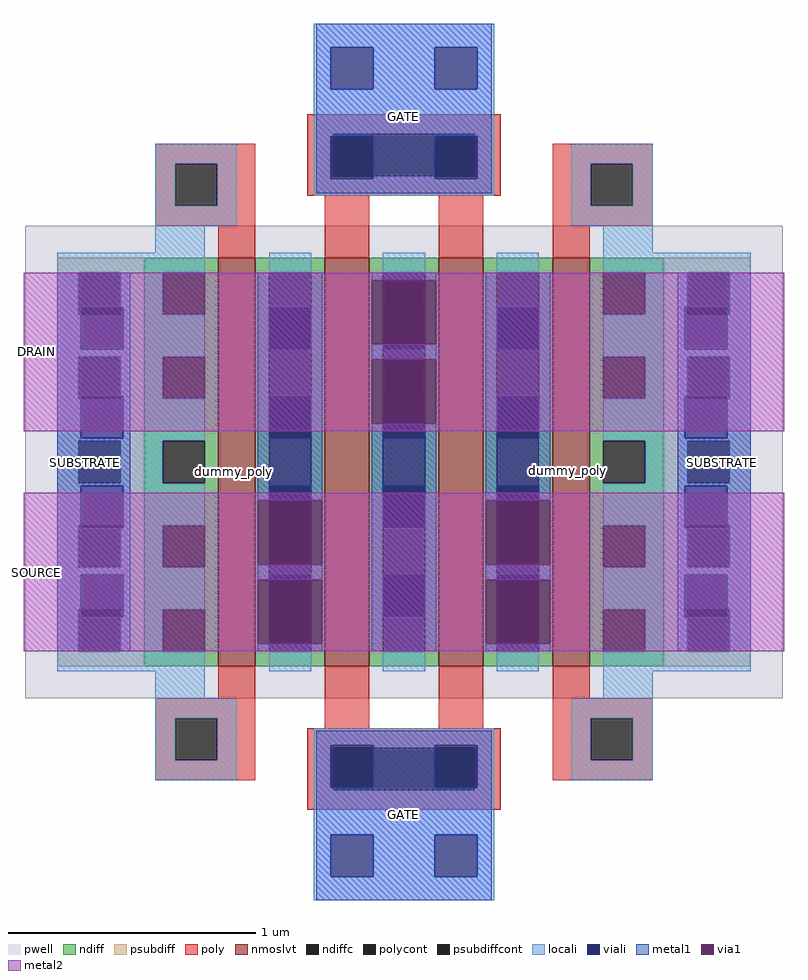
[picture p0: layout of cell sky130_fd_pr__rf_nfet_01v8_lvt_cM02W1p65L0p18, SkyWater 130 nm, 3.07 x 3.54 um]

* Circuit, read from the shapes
.subckt sky130_fd_pr__rf_nfet_01v8_lvt_cM02W1p65L0p18 GATE SUBSTRATE SOURCE DRAIN
XM1 SOURCE SUBSTRATE SUBSTRATE SUBSTRATE sky130_fd_pr__nfet_01v8_lvt w=1.65 l=0.15 m=2
XM2 DRAIN GATE SOURCE SUBSTRATE sky130_fd_pr__nfet_01v8_lvt w=1.65 l=0.18 m=2
.ends

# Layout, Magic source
magic
tech sky130A
magscale 1 2
<< pwell >>
rect 15 163 627 545
<< nmoslvt >>
rect 171 189 201 519
rect 257 189 293 519
rect 349 189 385 519
rect 441 189 471 519
<< ndiff >>
rect 111 507 171 519
rect 111 473 126 507
rect 160 473 171 507
rect 111 439 171 473
rect 111 405 126 439
rect 160 405 171 439
rect 111 371 171 405
rect 111 337 126 371
rect 160 337 171 371
rect 111 303 171 337
rect 111 269 126 303
rect 160 269 171 303
rect 111 235 171 269
rect 111 201 126 235
rect 160 201 171 235
rect 111 189 171 201
rect 201 507 257 519
rect 201 201 212 507
rect 246 201 257 507
rect 201 189 257 201
rect 293 507 349 519
rect 293 201 304 507
rect 338 201 349 507
rect 293 189 349 201
rect 385 507 441 519
rect 385 201 396 507
rect 430 201 441 507
rect 385 189 441 201
rect 471 507 531 519
rect 471 473 482 507
rect 516 473 531 507
rect 471 439 531 473
rect 471 405 482 439
rect 516 405 531 439
rect 471 371 531 405
rect 471 337 482 371
rect 516 337 531 371
rect 471 303 531 337
rect 471 269 482 303
rect 516 269 531 303
rect 471 235 531 269
rect 471 201 482 235
rect 516 201 531 235
rect 471 189 531 201
<< ndiffc >>
rect 126 473 160 507
rect 126 405 160 439
rect 126 337 160 371
rect 126 269 160 303
rect 126 201 160 235
rect 212 201 246 507
rect 304 201 338 507
rect 396 201 430 507
rect 482 473 516 507
rect 482 405 516 439
rect 482 337 516 371
rect 482 269 516 303
rect 482 201 516 235
<< psubdiff >>
rect 41 507 111 519
rect 41 473 58 507
rect 92 473 111 507
rect 41 439 111 473
rect 41 405 58 439
rect 92 405 111 439
rect 41 371 111 405
rect 41 337 58 371
rect 92 337 111 371
rect 41 303 111 337
rect 41 269 58 303
rect 92 269 111 303
rect 41 235 111 269
rect 41 201 58 235
rect 92 201 111 235
rect 41 189 111 201
rect 531 507 601 519
rect 531 473 550 507
rect 584 473 601 507
rect 531 439 601 473
rect 531 405 550 439
rect 584 405 601 439
rect 531 371 601 405
rect 531 337 550 371
rect 584 337 601 371
rect 531 303 601 337
rect 531 269 550 303
rect 584 269 601 303
rect 531 235 601 269
rect 531 201 550 235
rect 584 201 601 235
rect 531 189 601 201
<< psubdiffcont >>
rect 58 473 92 507
rect 58 405 92 439
rect 58 337 92 371
rect 58 269 92 303
rect 58 201 92 235
rect 550 473 584 507
rect 550 405 584 439
rect 550 337 584 371
rect 550 269 584 303
rect 550 201 584 235
<< poly >>
rect 243 619 399 635
rect 120 595 201 611
rect 120 561 136 595
rect 170 561 201 595
rect 243 585 264 619
rect 378 585 399 619
rect 243 569 399 585
rect 441 595 522 611
rect 120 545 201 561
rect 171 519 201 545
rect 257 519 293 569
rect 349 519 385 569
rect 441 561 472 595
rect 506 561 522 595
rect 441 545 522 561
rect 441 519 471 545
rect 171 163 201 189
rect 120 147 201 163
rect 120 113 136 147
rect 170 113 201 147
rect 257 139 293 189
rect 349 139 385 189
rect 441 163 471 189
rect 441 147 522 163
rect 120 97 201 113
rect 243 123 399 139
rect 243 89 264 123
rect 378 89 399 123
rect 441 113 472 147
rect 506 113 522 147
rect 441 97 522 113
rect 243 73 399 89
<< polycont >>
rect 136 561 170 595
rect 264 585 378 619
rect 472 561 506 595
rect 136 113 170 147
rect 264 89 378 123
rect 472 113 506 147
<< locali >>
rect 248 689 394 708
rect 248 655 262 689
rect 296 655 346 689
rect 380 655 394 689
rect 248 619 394 655
rect 248 617 264 619
rect 378 617 394 619
rect 120 595 186 611
rect 120 561 136 595
rect 170 561 186 595
rect 248 583 262 617
rect 296 583 346 585
rect 380 583 394 617
rect 248 569 394 583
rect 456 595 522 611
rect 120 545 186 561
rect 456 561 472 595
rect 506 561 522 595
rect 456 545 522 561
rect 120 523 160 545
rect 482 523 522 545
rect 41 507 160 523
rect 41 473 58 507
rect 92 479 126 507
rect 94 473 126 479
rect 41 445 60 473
rect 94 445 160 473
rect 41 439 160 445
rect 41 405 58 439
rect 92 407 126 439
rect 94 405 126 407
rect 41 373 60 405
rect 94 373 160 405
rect 41 371 160 373
rect 41 337 58 371
rect 92 337 126 371
rect 41 335 160 337
rect 41 303 60 335
rect 94 303 160 335
rect 41 269 58 303
rect 94 301 126 303
rect 92 269 126 301
rect 41 263 160 269
rect 41 235 60 263
rect 94 235 160 263
rect 41 201 58 235
rect 94 229 126 235
rect 92 201 126 229
rect 41 185 160 201
rect 212 507 246 523
rect 212 185 246 201
rect 304 507 338 523
rect 304 185 338 201
rect 396 507 430 523
rect 396 185 430 201
rect 482 507 601 523
rect 516 479 550 507
rect 516 473 548 479
rect 584 473 601 507
rect 482 445 548 473
rect 582 445 601 473
rect 482 439 601 445
rect 516 407 550 439
rect 516 405 548 407
rect 584 405 601 439
rect 482 373 548 405
rect 582 373 601 405
rect 482 371 601 373
rect 516 337 550 371
rect 584 337 601 371
rect 482 335 601 337
rect 482 303 548 335
rect 582 303 601 335
rect 516 301 548 303
rect 516 269 550 301
rect 584 269 601 303
rect 482 263 601 269
rect 482 235 548 263
rect 582 235 601 263
rect 516 229 548 235
rect 516 201 550 229
rect 584 201 601 235
rect 482 185 601 201
rect 120 163 160 185
rect 482 163 522 185
rect 120 147 186 163
rect 120 113 136 147
rect 170 113 186 147
rect 456 147 522 163
rect 120 97 186 113
rect 248 125 394 139
rect 248 91 262 125
rect 296 123 346 125
rect 380 91 394 125
rect 456 113 472 147
rect 506 113 522 147
rect 456 97 522 113
rect 248 89 264 91
rect 378 89 394 91
rect 248 53 394 89
rect 248 19 262 53
rect 296 19 346 53
rect 380 19 394 53
rect 248 0 394 19
<< viali >>
rect 262 655 296 689
rect 346 655 380 689
rect 262 585 264 617
rect 264 585 296 617
rect 346 585 378 617
rect 378 585 380 617
rect 262 583 296 585
rect 346 583 380 585
rect 60 473 92 479
rect 92 473 94 479
rect 60 445 94 473
rect 60 405 92 407
rect 92 405 94 407
rect 60 373 94 405
rect 60 303 94 335
rect 60 301 92 303
rect 92 301 94 303
rect 60 235 94 263
rect 60 229 92 235
rect 92 229 94 235
rect 212 445 246 479
rect 212 373 246 407
rect 212 301 246 335
rect 212 229 246 263
rect 304 445 338 479
rect 304 373 338 407
rect 304 301 338 335
rect 304 229 338 263
rect 396 445 430 479
rect 396 373 430 407
rect 396 301 430 335
rect 396 229 430 263
rect 548 473 550 479
rect 550 473 582 479
rect 548 445 582 473
rect 548 405 550 407
rect 550 405 582 407
rect 548 373 582 405
rect 548 303 582 335
rect 548 301 550 303
rect 550 301 582 303
rect 548 235 582 263
rect 548 229 550 235
rect 550 229 582 235
rect 262 123 296 125
rect 346 123 380 125
rect 262 91 264 123
rect 264 91 296 123
rect 346 91 378 123
rect 378 91 380 123
rect 262 19 296 53
rect 346 19 380 53
<< metal1 >>
rect 250 689 392 708
rect 250 655 262 689
rect 296 655 346 689
rect 380 655 392 689
rect 250 617 392 655
rect 250 583 262 617
rect 296 583 346 617
rect 380 583 392 617
rect 250 571 392 583
rect 41 479 100 507
rect 41 445 60 479
rect 94 445 100 479
rect 41 407 100 445
rect 41 373 60 407
rect 94 373 100 407
rect 41 335 100 373
rect 41 301 60 335
rect 94 301 100 335
rect 41 263 100 301
rect 41 229 60 263
rect 94 229 100 263
rect 41 201 100 229
rect 203 479 255 507
rect 203 445 212 479
rect 246 445 255 479
rect 203 407 255 445
rect 203 373 212 407
rect 246 373 255 407
rect 203 335 255 373
rect 203 323 212 335
rect 246 323 255 335
rect 203 263 255 271
rect 203 259 212 263
rect 246 259 255 263
rect 203 201 255 207
rect 295 501 347 507
rect 295 445 304 449
rect 338 445 347 449
rect 295 437 347 445
rect 295 373 304 385
rect 338 373 347 385
rect 295 335 347 373
rect 295 301 304 335
rect 338 301 347 335
rect 295 263 347 301
rect 295 229 304 263
rect 338 229 347 263
rect 295 201 347 229
rect 387 479 439 507
rect 387 445 396 479
rect 430 445 439 479
rect 387 407 439 445
rect 387 373 396 407
rect 430 373 439 407
rect 387 335 439 373
rect 387 323 396 335
rect 430 323 439 335
rect 387 263 439 271
rect 387 259 396 263
rect 430 259 439 263
rect 387 201 439 207
rect 542 479 601 507
rect 542 445 548 479
rect 582 445 601 479
rect 542 407 601 445
rect 542 373 548 407
rect 582 373 601 407
rect 542 335 601 373
rect 542 301 548 335
rect 582 301 601 335
rect 542 263 601 301
rect 542 229 548 263
rect 582 229 601 263
rect 542 201 601 229
rect 250 125 392 137
rect 250 91 262 125
rect 296 91 346 125
rect 380 91 392 125
rect 250 53 392 91
rect 250 19 262 53
rect 296 19 346 53
rect 380 19 392 53
rect 250 0 392 19
<< via1 >>
rect 203 301 212 323
rect 212 301 246 323
rect 246 301 255 323
rect 203 271 255 301
rect 203 229 212 259
rect 212 229 246 259
rect 246 229 255 259
rect 203 207 255 229
rect 295 479 347 501
rect 295 449 304 479
rect 304 449 338 479
rect 338 449 347 479
rect 295 407 347 437
rect 295 385 304 407
rect 304 385 338 407
rect 338 385 347 407
rect 387 301 396 323
rect 396 301 430 323
rect 430 301 439 323
rect 387 271 439 301
rect 387 229 396 259
rect 396 229 430 259
rect 430 229 439 259
rect 387 207 439 229
<< metal2 >>
rect 14 501 628 507
rect 14 449 295 501
rect 347 449 628 501
rect 14 437 628 449
rect 14 385 295 437
rect 347 385 628 437
rect 14 379 628 385
rect 14 323 628 329
rect 14 271 203 323
rect 255 271 387 323
rect 439 271 628 323
rect 14 259 628 271
rect 14 207 203 259
rect 255 207 387 259
rect 439 207 628 259
rect 14 201 628 207
<< labels >>
flabel comment s 183 346 183 346 0 FreeSans 180 90 0 0 dummy_poly
flabel comment s 453 347 453 347 0 FreeSans 180 90 0 0 dummy_poly
flabel metal1 s 255 608 386 659 0 FreeSans 200 0 0 0 GATE
port 1 nsew
flabel metal1 s 255 44 386 95 0 FreeSans 200 0 0 0 GATE
port 1 nsew
flabel metal1 s 41 339 87 369 0 FreeSans 200 90 0 0 SUBSTRATE
port 2 nsew
flabel metal1 s 555 339 601 369 0 FreeSans 200 90 0 0 SUBSTRATE
port 2 nsew
flabel metal2 s 14 201 35 329 7 FreeSans 300 180 0 0 SOURCE
port 3 nsew
flabel metal2 s 14 379 35 507 7 FreeSans 300 180 0 0 DRAIN
port 4 nsew
<< properties >>
string GDS_FILE $PDKPATH/libs.ref/sky130_fd_pr/gds/sky130_fd_pr.gds
string GDS_END 6603010
string GDS_START 6593058
<< end >>
